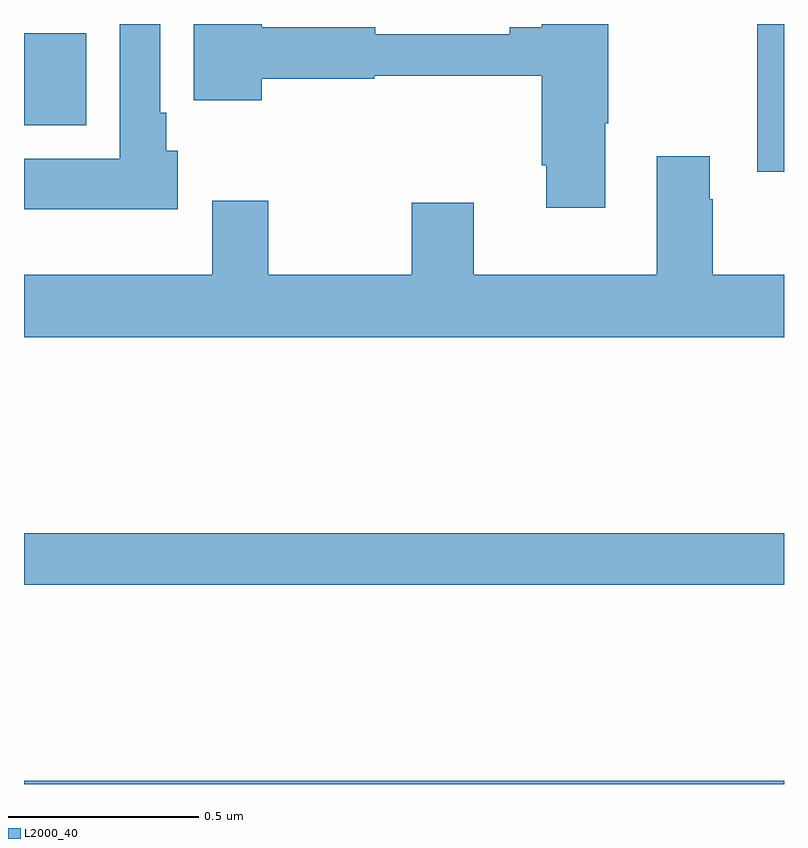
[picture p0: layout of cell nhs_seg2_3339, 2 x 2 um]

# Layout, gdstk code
import gdstk
lib = gdstk.Library(unit=1e-6, precision=1e-09)
def R(c, l, rs):  # rectangles x0, y0, x1, y1
    for r in rs: c.add(gdstk.rectangle(r[:2], r[2:], *l))
def P(c, l, *ps):  # polygons
    for p in ps: c.add(gdstk.Polygon(p, *l))
L2000_40 = (2000, 40)

nhs_seg2_3339 = lib.new_cell('nhs_seg2_3339')
R(nhs_seg2_3339, L2000_40, [(152,639.8,154,639.808), (152,640.324,154,640.46), (153.93,641.411,154,641.8), (152,641.534,152.164,641.776)])
P(nhs_seg2_3339, L2000_40, [(153.529,641.539),(153.537,641.539),(153.537,641.8),(153.362,641.8),(153.362,641.792),(153.278,641.792),(153.278,641.773),(152.924,641.773),(152.924,641.792),(152.626,641.792),(152.626,641.8),(152.447,641.8),(152.447,641.6),(152.626,641.6),(152.626,641.656),(152.922,641.656),(152.922,641.664),(153.362,641.664),(153.362,641.428),(153.374,641.428),(153.374,641.316),(153.529,641.316)],
  [(152.404,641.466),(152.374,641.466),(152.374,641.566),(152.359,641.566),(152.359,641.8),(152.252,641.8),(152.252,641.446),(152,641.446),(152,641.312),(152.404,641.312)],
  [(154,641.14),(153.813,641.14),(153.813,641.339),(153.805,641.339),(153.805,641.452),(153.665,641.452),(153.665,641.14),(153.184,641.14),(153.184,641.329),(153.02,641.329),(153.02,641.14),(152.643,641.14),(152.643,641.335),(152.495,641.335),(152.495,641.14),(152,641.14),(152,640.976),(154,640.976)])

lib.write_gds('nhs_seg2_3339.gds')
